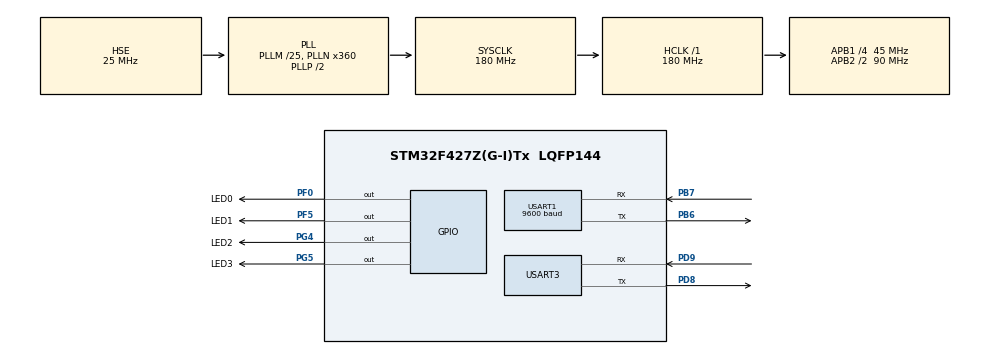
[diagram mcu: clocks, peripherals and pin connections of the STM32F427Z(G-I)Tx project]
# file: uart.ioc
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Mcu.Family=STM32F4
Mcu.Name=STM32F427Z(G-I)Tx
Mcu.Package=LQFP144
NVIC.PriorityGroup=NVIC_PRIORITYGROUP_4
NVIC.TIM2_IRQn=true\:2\:0\:true\:false\:true\:true\:true
NVIC.USART1_IRQn=true\:0\:0\:false\:false\:true\:true\:true
NVIC.USART3_IRQn=true\:1\:0\:true\:false\:true\:true\:true
PB6.Mode=Asynchronous
PB6.Signal=USART1_TX
PB7.Mode=Asynchronous
PB7.Signal=USART1_RX
PD8.Mode=Asynchronous
PD8.Signal=USART3_TX
PD9.Mode=Asynchronous
PD9.Signal=USART3_RX
PF0.GPIO_Label=LED0
PF0.Signal=GPIO_Output
PF5.GPIO_Label=LED1
PF5.Signal=GPIO_Output
PG4.GPIO_Label=LED2
PG4.Signal=GPIO_Output
PG5.GPIO_Label=LED3
PG5.Signal=GPIO_Output
PH0/OSC_IN.Mode=HSE-External-Oscillator
PH0/OSC_IN.Signal=RCC_OSC_IN
PH1/OSC_OUT.Mode=HSE-External-Oscillator
PH1/OSC_OUT.Signal=RCC_OSC_OUT
ProjectManager.HeapSize=0x200
ProjectManager.StackSize=0x400
ProjectManager.TargetToolchain=MDK-ARM V5.27
RCC.48MHZClocksFreq_Value=90000000
RCC.AHBFreq_Value=180000000
RCC.APB1CLKDivider=RCC_HCLK_DIV4
RCC.APB1Freq_Value=45000000
RCC.APB1TimFreq_Value=90000000
RCC.APB2CLKDivider=RCC_HCLK_DIV2
RCC.APB2Freq_Value=90000000
RCC.APB2TimFreq_Value=180000000
RCC.CortexFreq_Value=180000000
RCC.HCLKFreq_Value=180000000
RCC.HSE_VALUE=25000000
RCC.HSI_VALUE=16000000
RCC.LSE_VALUE=32768
RCC.PLLM=25
RCC.PLLN=360
RCC.PLLSourceVirtual=RCC_PLLSOURCE_HSE
RCC.SYSCLKFreq_VALUE=180000000
RCC.SYSCLKSource=RCC_SYSCLKSOURCE_PLLCLK
RCC.VCOOutputFreq_Value=360000000
TIM2.AutoReloadPreload=TIM_AUTORELOAD_PRELOAD_ENABLE
TIM2.Period=99999
TIM2.Prescaler=89
USART1.BaudRate=9600
USART1.OverSampling=UART_OVERSAMPLING_8
USART1.VirtualMode=VM_ASYNC
USART3.OverSampling=UART_OVERSAMPLING_8
USART3.VirtualMode=VM_ASYNC
VP_TIM2_VS_ClockSourceINT.Mode=Internal
board=custom

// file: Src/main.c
/* USER CODE BEGIN Header */
/**
  ******************************************************************************
  * @file           : main.c
  * @brief          : Main program body
  ******************************************************************************
  * @attention
  *
  * <h2><center>&copy; Copyright (c) 2020 STMicroelectronics.
  * All rights reserved.</center></h2>
  *
  * This software component is licensed by ST under BSD 3-Clause license,
  * the "License"; You may not use this file except in compliance with the
  * License. You may obtain a copy of the License at:
  *                        opensource.org/licenses/BSD-3-Clause
  *
  ******************************************************************************
  */
/* USER CODE END Header */

#include "main.h"
#include "tim.h"
#include "usart.h"
#include "gpio.h"

/* USER CODE BEGIN Includes */
#define len(string) strlen(string)
/* USER CODE END Includes */

/* USER CODE BEGIN PV */
uint8_t rxbuffer[1];
uint8_t rxbuffer_index_uart1=0;
uint8_t rxbuffer_uart1[128];

uint8_t rxbuffer_espressif[1];
uint8_t rxbuffer_espressif_index=0;
uint8_t rxbuffer_espressif_uart3[128];
/* USER CODE END PV */

void SystemClock_Config(void);

/* USER CODE BEGIN 0 */

void exec(uint8_t *message){
	HAL_UART_Transmit(&huart1, "LED ON/OFF\n", 11, 128);

	uint8_t len = strlen(message);
	//LED 0 on
	if(message[4] == '0'){
		if(strstr(message+6, "on") != NULL){
			HAL_GPIO_WritePin(GPIOG, LED2_Pin, GPIO_PIN_RESET);
		}else{
			HAL_GPIO_WritePin(GPIOG, LED2_Pin, GPIO_PIN_SET);
		}

	}else{
		if(strstr(message+6, "on") != NULL){
			HAL_GPIO_WritePin(GPIOG, LED3_Pin, GPIO_PIN_RESET);
		}else{
			HAL_GPIO_WritePin(GPIOG, LED3_Pin, GPIO_PIN_SET);
		}
	}
}
void HAL_UART_RxCpltCallback(UART_HandleTypeDef *huart)
{
	uint8_t cmd[128] = {"AT\r\n"};
	HAL_UART_Transmit(&huart3, cmd, strlen(cmd),128);

  if(huart->Instance == USART1){
    rxbuffer_uart1[rxbuffer_index_uart1++] = *rxbuffer;

    if(*rxbuffer == '\n'){
			HAL_UART_Transmit(&huart1, "uart1:", 6, 128);

      rxbuffer_uart1[rxbuffer_index_uart1] = '\0';
      rxbuffer_index_uart1 = 0;
      HAL_UART_Transmit(&huart1, rxbuffer_uart1, len(rxbuffer_uart1), 128);
			if(strstr(rxbuffer_uart1, "led") != NULL){
				exec(rxbuffer_uart1);
			}

    }

		HAL_UART_Receive_IT(&huart1, (uint8_t *)rxbuffer, 1);
  }else if(huart->Instance == USART3){
		HAL_UART_Transmit(&huart1, "\nesp:", 6, 128);
		HAL_UART_Receive_IT(&huart3, (uint8_t *)rxbuffer, 1);
	}
	else{
	}
}

void HAL_TIM_PeriodElapsedCallback(TIM_HandleTypeDef *htim){
	HAL_GPIO_TogglePin(GPIOF, LED1_Pin);
}
/* USER CODE END 0 */

int main(void)
{

  /* MCU Configuration--------------------------------------------------------*/

  /* Reset of all peripherals, Initializes the Flash interface and the Systick. */
  HAL_Init();

  /* Configure the system clock */
  SystemClock_Config();

  /* Initialize all configured peripherals */
  MX_GPIO_Init();
  MX_USART1_UART_Init();
  MX_TIM2_Init();
  MX_USART3_UART_Init();
  /* USER CODE BEGIN 2 */
	HAL_GPIO_WritePin(GPIOF, LED0_Pin | LED1_Pin, GPIO_PIN_SET);
	HAL_GPIO_WritePin(GPIOG, LED2_Pin | LED3_Pin, GPIO_PIN_SET);

	HAL_TIM_Base_Start_IT(&htim2);

  HAL_UART_Receive_IT(&huart1, (uint8_t *)rxbuffer, 1);
	HAL_UART_Receive_IT(&huart3, (uint8_t *)rxbuffer_espressif, 1);

	uint8_t message[128] = {"This is for every one!\r\n"};
	HAL_UART_Transmit(&huart1, message, strlen(message),128);

	uint8_t cmd[128] = {"AT\r\n"};
	HAL_UART_Transmit(&huart3, cmd, strlen(cmd),128);

  /* USER CODE END 2 */

  /* Infinite loop */
  /* USER CODE BEGIN WHILE */
  while (1)
  {
		HAL_GPIO_TogglePin(GPIOF, LED0_Pin);
		HAL_Delay(200);
		HAL_GPIO_TogglePin(GPIOF, LED0_Pin);
		HAL_Delay(800);
    /* USER CODE END WHILE */

  }
}

void SystemClock_Config(void)
{
  RCC_OscInitTypeDef RCC_OscInitStruct = {0};
  RCC_ClkInitTypeDef RCC_ClkInitStruct = {0};

  /** Configure the main internal regulator output voltage
  */
  __HAL_RCC_PWR_CLK_ENABLE();
  __HAL_PWR_VOLTAGESCALING_CONFIG(PWR_REGULATOR_VOLTAGE_SCALE1);
  /** Initializes the CPU, AHB and APB busses clocks
  */
  RCC_OscInitStruct.OscillatorType = RCC_OSCILLATORTYPE_HSE;
  RCC_OscInitStruct.HSEState = RCC_HSE_ON;
  RCC_OscInitStruct.PLL.PLLState = RCC_PLL_ON;
  RCC_OscInitStruct.PLL.PLLSource = RCC_PLLSOURCE_HSE;
  RCC_OscInitStruct.PLL.PLLM = 25;
  RCC_OscInitStruct.PLL.PLLN = 360;
  RCC_OscInitStruct.PLL.PLLP = RCC_PLLP_DIV2;
  RCC_OscInitStruct.PLL.PLLQ = 4;
  if (HAL_RCC_OscConfig(&RCC_OscInitStruct) != HAL_OK)
  {
    Error_Handler();
  }
  /** Activate the Over-Drive mode
  */
  if (HAL_PWREx_EnableOverDrive() != HAL_OK)
  {
    Error_Handler();
  }
  /** Initializes the CPU, AHB and APB busses clocks
  */
  RCC_ClkInitStruct.ClockType = RCC_CLOCKTYPE_HCLK|RCC_CLOCKTYPE_SYSCLK
                              |RCC_CLOCKTYPE_PCLK1|RCC_CLOCKTYPE_PCLK2;
  RCC_ClkInitStruct.SYSCLKSource = RCC_SYSCLKSOURCE_PLLCLK;
  RCC_ClkInitStruct.AHBCLKDivider = RCC_SYSCLK_DIV1;
  RCC_ClkInitStruct.APB1CLKDivider = RCC_HCLK_DIV4;
  RCC_ClkInitStruct.APB2CLKDivider = RCC_HCLK_DIV2;

  if (HAL_RCC_ClockConfig(&RCC_ClkInitStruct, FLASH_LATENCY_5) != HAL_OK)
  {
    Error_Handler();
  }
}

void Error_Handler(void)
{
}

/************************ (C) COPYRIGHT STMicroelectronics *****END OF FILE****/
